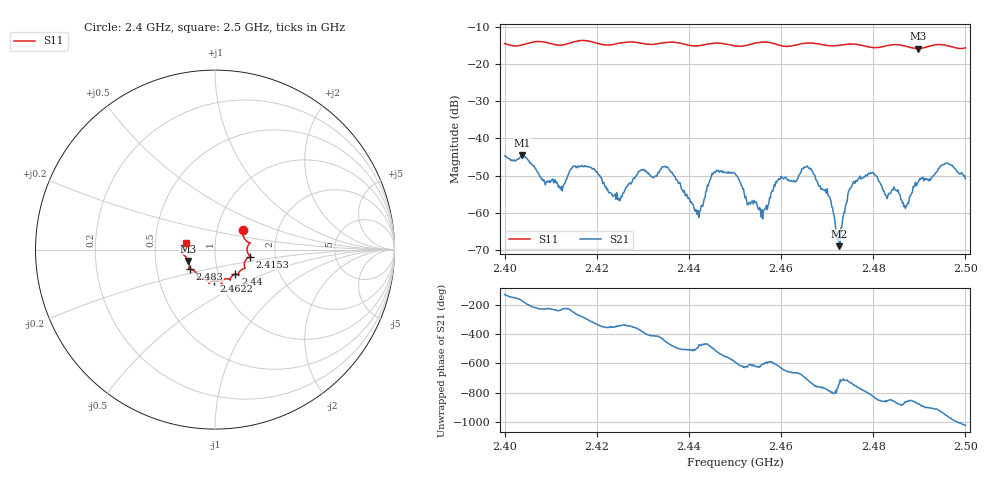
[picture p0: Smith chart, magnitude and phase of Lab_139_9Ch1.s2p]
# Hz S RI R 50
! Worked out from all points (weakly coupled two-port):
!   601 points, 2.4 GHz to 2.5 GHz, reference 50 ohm
!   highest |S21| = -44.53 dB at 2.4038 GHz (marker M1); lowest = -69.0 dB at 2.4727 GHz (marker M2)
!   lowest |S11| = -15.9 dB at 2.4897 GHz (marker M3), VSWR 1.38, Z = 36.9 - j4.82 ohm
!   |S11| at or under -10 dB: start of sweep to end of sweep
!   S12 and S22 are empty: the file has one direction only
!   S11 on the Smith chart (normalised r, x): 2.4 GHz: 1.33, +0.29; 2.4153 GHz: 1.48, -0.12; 2.44 GHz: 1.20, -0.34; 2.4622 GHz: 0.93, -0.33; 2.483 GHz: 0.74, -0.17; 2.5 GHz: 0.72, +0.06
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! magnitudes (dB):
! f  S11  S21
! 2.4 GHz  -14.5  -44.7
! 2.4038 GHz  -14.9  -44.5
! 2.4122 GHz  -15.0  -53.6
! 2.4153 GHz  -14.0  -47.4
! 2.4167 GHz  -13.7  -47.3
! 2.4247 GHz  -14.5  -56.6
! 2.4333 GHz  -14.6  -49.2
! 2.44 GHz  -15.0  -56.0
! 2.442 GHz  -15.1  -59.4
! 2.4455 GHz  -14.4  -49.1
! 2.45 GHz  -15.1  -49.5
! 2.456 GHz  -14.1  -61.7
! 2.4622 GHz  -15.2  -51.3
! 2.4667 GHz  -14.4  -48.8
! 2.4727 GHz  -15.0  -69.0
! 2.4767 GHz  -14.8  -51.1
! 2.483 GHz  -15.1  -56.2
! 2.4833 GHz  -15.0  -54.8
! 2.4872 GHz  -15.3  -58.3
! 2.4897 GHz  -15.9  -51.8
! 2.4958 GHz  -15.0  -46.7
! 2.5 GHz  -15.7  -50.9
